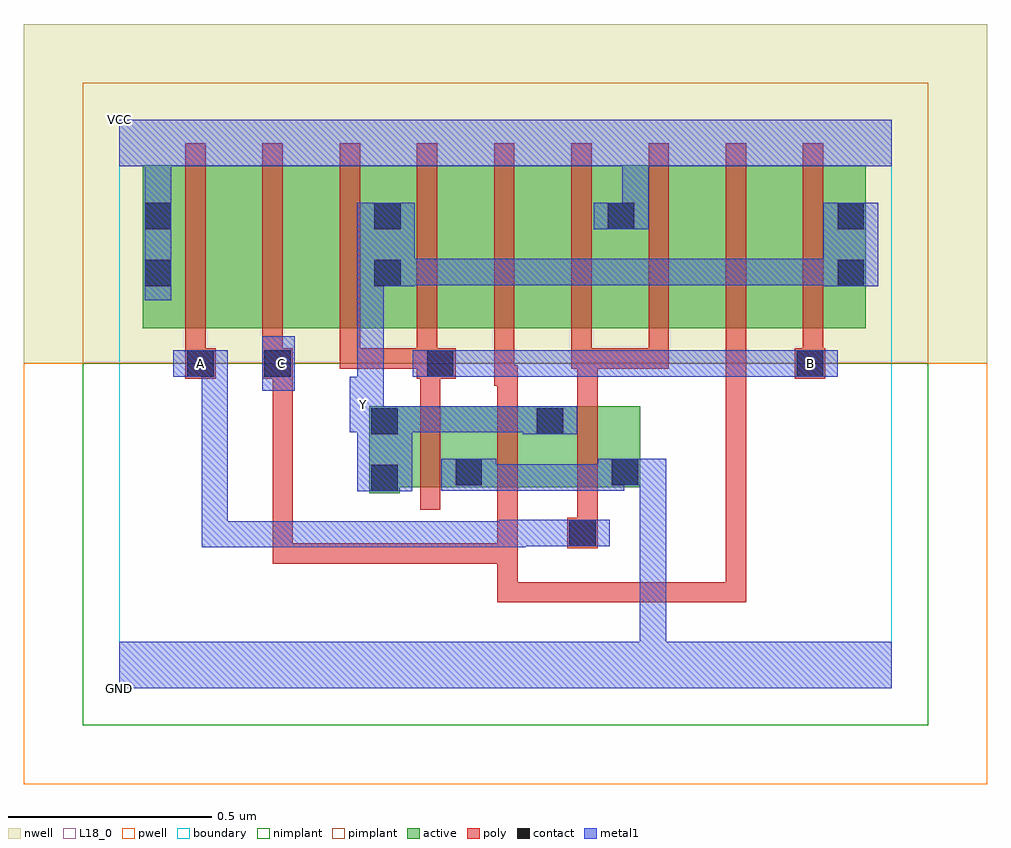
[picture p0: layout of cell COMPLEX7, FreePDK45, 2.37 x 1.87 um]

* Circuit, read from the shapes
.subckt COMPLEX7 A B C GND VCC Y
M1 GND B Y VSUBS nfet w=0.2u l=0.05u
M2 Y C GND VSUBS nfet w=0.2u l=0.05u
M3 GND A Y VSUBS nfet w=0.2u l=0.05u
M4 n1 A VCC n2 pfet w=0.4u l=0.05u
M5 n3 C n1 n2 pfet w=0.4u l=0.05u
M6 Y B n3 n2 pfet w=0.4u l=0.05u
M7 n4 B Y n2 pfet w=0.4u l=0.05u
M8 n5 C n4 n2 pfet w=0.4u l=0.05u
M9 VCC A n5 n2 pfet w=0.4u l=0.05u
M10 n6 A VCC n2 pfet w=0.4u l=0.05u
M11 n7 C n6 n2 pfet w=0.4u l=0.05u
M12 Y B n7 n2 pfet w=0.4u l=0.05u
.ends

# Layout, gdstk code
import gdstk
lib = gdstk.Library(unit=1e-6, precision=1e-09)
def R(c, l, rs):  # rectangles x0, y0, x1, y1
    for r in rs: c.add(gdstk.rectangle(r[:2], r[2:], *l))
def A(c, l, x, y, w, h, nx, ny, dx, dy):  # array of equal rectangles
    R(c, l, [(x+i*dx, y+j*dy, x+i*dx+w, y+j*dy+h) for i in range(nx) for j in range(ny)])
active = (1, 0)
pwell = (2, 0)
nwell = (3, 0)
nimplant = (4, 0)
pimplant = (5, 0)
poly = (9, 0)
contact = (10, 0)
metal1 = (11, 0)
L18_0 = (18, 0)
boundary = (235, 0)

complex7 = lib.new_cell('COMPLEX7')
A(complex7, active, 0.282, 0.887, 0.19, 0.4, 3, 1, 0.57, 0)
R(complex7, active, [(0.615,0.48,0.69,0.695), (0.615,0.495,0.897,0.695), (0.822,0.495,1.097,0.695), (0.822,0.495,0.897,0.597), (1.022,0.495,1.282,0.695), (1.207,0.495,1.282,0.695), (1.022,0.545,1.097,0.695), (0.057,0.887,0.282,1.287), (0.057,0.887,0.132,1.255), (0.472,0.887,0.697,1.287), (0.622,0.887,0.852,1.287), (1.042,0.887,1.272,1.287), (1.197,0.887,1.422,1.287), (1.612,0.887,1.837,1.287), (1.762,0.887,1.837,1.2), (0.622,0.907,0.697,1.2), (1.197,0.907,1.272,1.255)])
R(complex7, pwell, [(-0.235,-0.235,2.135,0.8)])
R(complex7, nwell, [(-0.235,0.8,2.135,1.635)])
R(complex7, nimplant, [(-0.09,-0.09,1.99,0.8)])
R(complex7, pimplant, [(-0.09,0.8,1.99,1.49)])
A(complex7, poly, 0.162, 0.787, 0.05, 0.095, 4, 1, 0.19, 0)
A(complex7, poly, 0.162, 0.832, 0.05, 0.51, 9, 1, 0.19, 0)
R(complex7, poly, [(0.93,0.212,0.98,0.262), (0.93,0.212,1.112,0.262), (0.93,0.212,0.98,0.357), (1.062,0.212,1.112,0.262), (1.062,0.212,1.112,0.262), (1.062,0.212,1.112,0.262), (1.062,0.212,1.31,0.262), (1.26,0.212,1.31,0.262), (1.26,0.212,1.31,0.262), (1.26,0.212,1.31,0.262), (1.26,0.212,1.31,0.262), (1.26,0.212,1.31,0.262), (1.26,0.212,1.542,0.262), (1.492,0.212,1.542,0.882), (1.492,0.212,1.542,0.262), (1.492,0.212,1.542,0.262), (1.492,0.212,1.542,0.262), (1.492,0.212,1.542,0.262), (1.492,0.212,1.542,0.262), (1.492,0.212,1.542,0.262), (1.492,0.212,1.542,0.262), (1.492,0.212,1.542,0.262), (1.492,0.212,1.542,0.262), (0.377,0.307,0.427,0.357), (0.377,0.307,0.65,0.357), (0.377,0.307,0.427,0.812), (0.6,0.307,0.65,0.357), (0.6,0.307,0.65,0.357), (0.6,0.307,0.65,0.357), (0.6,0.307,0.84,0.357), (0.79,0.307,0.84,0.357), (0.79,0.307,0.98,0.357), (0.93,0.307,0.98,0.357), (0.93,0.307,0.98,0.357), (0.93,0.307,0.98,0.357), (0.93,0.307,0.98,0.49), (1.102,0.345,1.177,0.42), (1.127,0.37,1.177,0.49), (0.74,0.44,0.79,0.75), (0.93,0.44,0.98,0.75), (1.127,0.44,1.177,0.75), (0.74,0.7,0.79,0.812), (0.93,0.7,0.98,0.795), (1.127,0.7,1.177,0.837), (0.922,0.745,0.972,0.882), (0.922,0.745,0.98,0.795), (0.162,0.762,0.237,0.837), (0.352,0.762,0.427,0.837), (0.377,0.762,0.427,0.812), (0.377,0.762,0.427,0.812), (0.377,0.762,0.427,0.812), (0.377,0.762,0.427,0.812), (0.377,0.762,0.427,0.812), (0.377,0.762,0.427,0.812), (0.732,0.762,0.827,0.837), (1.662,0.762,1.737,0.837), (0.542,0.787,0.592,0.837), (0.542,0.787,0.782,0.837), (0.732,0.787,0.782,0.837), (0.732,0.787,0.782,0.837), (1.112,0.787,1.162,0.882), (1.112,0.787,1.177,0.837), (1.127,0.787,1.352,0.837), (1.302,0.787,1.352,0.882), (1.302,0.787,1.352,0.837), (1.302,0.787,1.352,0.837), (1.302,0.787,1.352,0.837), (1.682,0.787,1.732,0.882)])
R(complex7, contact, [(1.107,0.35,1.172,0.415), (0.62,0.485,0.685,0.55), (0.827,0.5,0.892,0.565), (1.212,0.5,1.277,0.565), (0.62,0.625,0.685,0.69), (1.027,0.625,1.092,0.69), (0.167,0.767,0.232,0.832), (0.357,0.767,0.422,0.832), (0.757,0.767,0.822,0.832), (1.667,0.767,1.732,0.832), (0.062,0.99,0.127,1.055), (0.627,0.99,0.692,1.055), (1.767,0.99,1.832,1.055), (0.062,1.13,0.127,1.195), (0.627,1.13,0.692,1.195), (1.202,1.13,1.267,1.195), (1.767,1.13,1.832,1.195)])
R(complex7, metal1, [(0,0,1.9,0.115), (1.28,0.05,1.345,0.115), (1.28,0.05,1.345,0.115), (1.28,0.05,1.345,0.115), (1.28,0.05,1.345,0.115), (1.28,0.05,1.345,0.115), (1.28,0.05,1.345,0.115), (1.28,0.05,1.345,0.115), (1.28,0.05,1.345,0.115), (1.28,0.05,1.345,0.565), (0.202,0.347,0.267,0.412), (0.202,0.347,0.405,0.412), (0.202,0.347,0.267,0.832), (0.34,0.347,0.405,0.412), (0.34,0.347,0.405,0.412), (0.34,0.347,0.405,0.412), (0.34,0.347,0.405,0.412), (0.34,0.347,0.405,0.412), (0.34,0.347,0.582,0.412), (0.517,0.347,0.582,0.412), (0.517,0.347,0.582,0.412), (0.517,0.347,0.582,0.412), (0.517,0.347,0.582,0.412), (0.517,0.347,0.582,0.412), (0.517,0.347,0.857,0.412), (0.792,0.347,0.857,0.412), (0.792,0.347,0.865,0.412), (0.8,0.347,0.865,0.412), (0.8,0.347,1,0.412), (0.935,0.347,1,0.415), (0.935,0.35,1.07,0.415), (1.005,0.35,1.07,0.415), (1.005,0.35,1.137,0.415), (1.072,0.35,1.207,0.415), (0.585,0.485,0.72,0.695), (0.792,0.487,0.927,0.565), (0.862,0.487,0.995,0.552), (0.93,0.487,0.995,0.552), (0.93,0.487,1.07,0.552), (1.005,0.487,1.07,0.552), (1.005,0.487,1.242,0.552), (1.177,0.487,1.242,0.565), (1.177,0.5,1.242,0.565), (1.177,0.5,1.345,0.565), (0.992,0.625,1.127,0.695), (0.567,0.63,0.65,0.767), (0.585,0.63,0.65,0.695), (0.655,0.63,0.72,0.695), (0.655,0.63,0.72,0.695), (0.655,0.63,0.865,0.695), (0.8,0.63,0.865,0.695), (0.8,0.63,1,0.695), (0.935,0.63,1,0.695), (0.935,0.63,1.057,0.695), (0.585,0.702,0.65,1.055), (0.352,0.732,0.432,0.867), (0.132,0.767,0.267,0.832), (0.202,0.767,0.267,0.832), (0.202,0.767,0.267,0.832), (0.722,0.767,0.857,0.832), (0.792,0.767,0.865,0.832), (0.8,0.767,0.865,0.832), (0.8,0.767,1,0.832), (0.935,0.767,1,0.832), (0.935,0.767,1.07,0.832), (1.005,0.767,1.07,0.832), (1.005,0.767,1.207,0.832), (1.142,0.767,1.207,0.832), (1.142,0.767,1.207,0.832), (1.142,0.767,1.207,0.832), (1.142,0.767,1.422,0.832), (1.357,0.767,1.422,0.832), (1.357,0.767,1.422,0.832), (1.357,0.767,1.422,0.832), (1.357,0.767,1.56,0.832), (1.495,0.767,1.56,0.832), (1.495,0.767,1.56,0.832), (1.495,0.767,1.56,0.832), (1.495,0.767,1.697,0.832), (1.632,0.767,1.767,0.832), (0.062,0.955,0.127,1.23), (0.585,0.99,0.727,1.195), (1.732,0.99,1.867,1.195), (0.662,0.992,0.727,1.057), (0.662,0.992,0.727,1.057), (0.662,0.992,0.865,1.057), (0.8,0.992,0.865,1.057), (0.8,0.992,0.995,1.057), (0.93,0.992,0.995,1.057), (0.93,0.992,1.065,1.057), (1,0.992,1.065,1.057), (1,0.992,1.207,1.057), (1.142,0.992,1.207,1.057), (1.142,0.992,1.207,1.057), (1.142,0.992,1.207,1.057), (1.142,0.992,1.38,1.057), (1.315,0.992,1.38,1.057), (1.315,0.992,1.38,1.057), (1.315,0.992,1.38,1.057), (1.315,0.992,1.56,1.057), (1.495,0.992,1.56,1.057), (1.495,0.992,1.56,1.057), (1.495,0.992,1.56,1.057), (1.495,0.992,1.797,1.057), (1.732,0.992,1.797,1.057), (1.732,0.992,1.797,1.057), (1.167,1.13,1.302,1.195), (1.237,1.13,1.302,1.35), (0.062,1.165,0.127,1.35), (0,1.285,1.9,1.4)])
R(complex7, L18_0, [(0,0,1.9,0.115), (1.28,0.05,1.345,0.115), (1.28,0.05,1.345,0.115), (1.28,0.05,1.345,0.115), (1.28,0.05,1.345,0.115), (1.28,0.05,1.345,0.115), (1.28,0.05,1.345,0.115), (1.28,0.05,1.345,0.115), (1.28,0.05,1.345,0.115), (1.28,0.05,1.345,0.565), (0.202,0.347,0.267,0.412), (0.202,0.347,0.267,0.832), (0.202,0.347,0.405,0.412), (0.34,0.347,0.405,0.412), (0.34,0.347,0.405,0.412), (0.34,0.347,0.405,0.412), (0.34,0.347,0.405,0.412), (0.34,0.347,0.405,0.412), (0.34,0.347,0.582,0.412), (0.517,0.347,0.582,0.412), (0.517,0.347,0.582,0.412), (0.517,0.347,0.582,0.412), (0.517,0.347,0.582,0.412), (0.517,0.347,0.582,0.412), (0.517,0.347,0.857,0.412), (0.792,0.347,0.857,0.412), (0.792,0.347,0.865,0.412), (0.8,0.347,0.865,0.412), (0.8,0.347,1,0.412), (0.935,0.347,1,0.415), (0.935,0.35,1.07,0.415), (1.005,0.35,1.07,0.415), (1.005,0.35,1.137,0.415), (1.072,0.35,1.207,0.415), (0.585,0.485,0.72,0.695), (0.792,0.487,0.927,0.565), (0.862,0.487,0.995,0.552), (0.93,0.487,0.995,0.552), (0.93,0.487,1.07,0.552), (1.005,0.487,1.07,0.552), (1.005,0.487,1.242,0.552), (1.177,0.487,1.242,0.565), (1.177,0.5,1.242,0.565), (1.177,0.5,1.345,0.565), (0.992,0.625,1.127,0.695), (0.567,0.63,0.65,0.767), (0.585,0.63,0.65,0.695), (0.655,0.63,0.72,0.695), (0.655,0.63,0.72,0.695), (0.655,0.63,0.865,0.695), (0.8,0.63,0.865,0.695), (0.8,0.63,1,0.695), (0.935,0.63,1,0.695), (0.935,0.63,1.057,0.695), (0.567,0.667,0.632,0.732), (0.585,0.702,0.65,1.055), (0.352,0.732,0.432,0.867), (0.132,0.767,0.267,0.832), (0.167,0.767,0.232,0.832), (0.202,0.767,0.267,0.832), (0.202,0.767,0.267,0.832), (0.367,0.767,0.432,0.832), (0.722,0.767,0.857,0.832), (0.792,0.767,0.865,0.832), (0.8,0.767,0.865,0.832), (0.8,0.767,1,0.832), (0.935,0.767,1.07,0.832), (0.935,0.767,1,0.832), (1.005,0.767,1.07,0.832), (1.005,0.767,1.207,0.832), (1.142,0.767,1.207,0.832), (1.142,0.767,1.207,0.832), (1.142,0.767,1.207,0.832), (1.142,0.767,1.422,0.832), (1.357,0.767,1.422,0.832), (1.357,0.767,1.422,0.832), (1.357,0.767,1.422,0.832), (1.357,0.767,1.56,0.832), (1.495,0.767,1.56,0.832), (1.495,0.767,1.56,0.832), (1.495,0.767,1.56,0.832), (1.495,0.767,1.697,0.832), (1.632,0.767,1.767,0.832), (1.667,0.767,1.732,0.832), (0.062,0.955,0.127,1.23), (0.585,0.99,0.727,1.195), (1.732,0.99,1.867,1.195), (0.662,0.992,0.727,1.057), (0.662,0.992,0.727,1.057), (0.662,0.992,0.865,1.057), (0.8,0.992,0.865,1.057), (0.8,0.992,0.995,1.057), (0.93,0.992,1.065,1.057), (0.93,0.992,0.995,1.057), (1,0.992,1.065,1.057), (1,0.992,1.207,1.057), (1.142,0.992,1.207,1.057), (1.142,0.992,1.207,1.057), (1.142,0.992,1.207,1.057), (1.142,0.992,1.38,1.057), (1.315,0.992,1.38,1.057), (1.315,0.992,1.38,1.057), (1.315,0.992,1.38,1.057), (1.315,0.992,1.56,1.057), (1.495,0.992,1.56,1.057), (1.495,0.992,1.56,1.057), (1.495,0.992,1.56,1.057), (1.495,0.992,1.797,1.057), (1.732,0.992,1.797,1.057), (1.732,0.992,1.797,1.057), (1.167,1.13,1.302,1.195), (1.237,1.13,1.302,1.35), (0.062,1.165,0.127,1.35), (0,1.285,1.9,1.4)])
R(complex7, boundary, [(0,0,1.9,1.4)])
complex7.add(gdstk.Label('A', (0.2,0.8), layer=11, texttype=0))
complex7.add(gdstk.Label('B', (1.7,0.8), layer=11, texttype=0))
complex7.add(gdstk.Label('C', (0.4,0.8), layer=11, texttype=0))
complex7.add(gdstk.Label('Y', (0.6,0.7), layer=11, texttype=0))
complex7.add(gdstk.Label('VCC', (0,1.4), layer=11, texttype=0))
complex7.add(gdstk.Label('GND', (0,0), layer=11, texttype=0))

lib.write_gds('COMPLEX7.gds')
